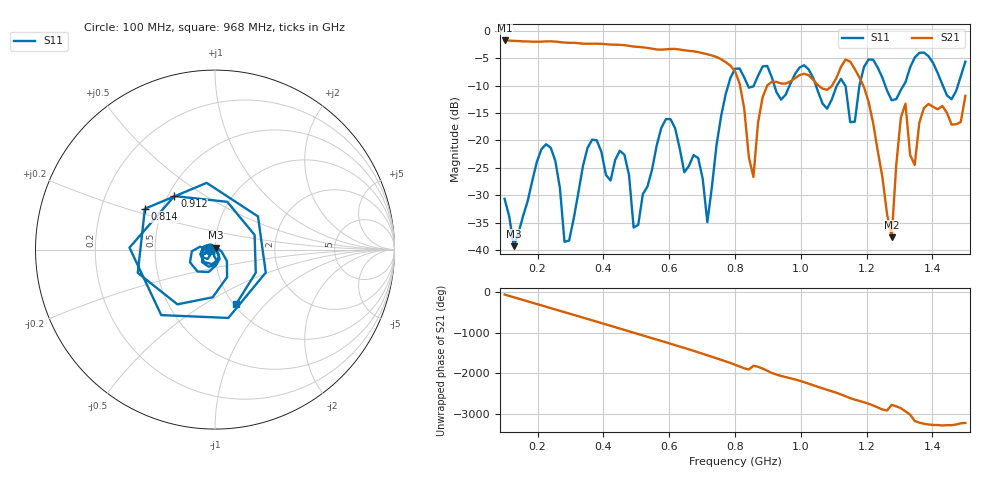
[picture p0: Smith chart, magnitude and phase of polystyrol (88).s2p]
! NanoVNA-App
! Date: 2025-09-26 09:42:34
! Start: 100MHz Stop: 1,5GHz Points: 101
! S-Parameter data: F S11 S21 S12 S22
# Hz S RI R 50
!  Frequency  S11_Real  S11_Imag  S21_Real  S21_Imag  S12_Real  S12_Imag  S22_Real  S22_Imag
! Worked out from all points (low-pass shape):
!   101 points, 100 MHz to 1.5 GHz, reference 50 ohm
!   highest |S21| = -1.79 dB at 100 MHz (marker M1); lowest = -37.6 dB at 1.276 GHz (marker M2)
!   |S21| within 3 dB of the highest: start of sweep to 743.3 MHz
!   lowest |S11| = -39.3 dB at 128 MHz (marker M3), VSWR 1.02, Z = 50.3 + j1.05 ohm
!   |S11| at or under -10 dB: start of sweep to 779.3 MHz; 1.046 GHz to 1.11 GHz (64.19 MHz wide, 5.96 % of centre); 1.135 GHz to 1.178 GHz (43.21 MHz wide, 3.74 % of centre) (the widest 3 of 7)
!   S12 and S22 are empty: the file has one direction only
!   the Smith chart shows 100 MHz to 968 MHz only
!   S11 on the Smith chart (normalised r, x): 100 MHz: 0.94, -0.01; 814 MHz: 0.40, +0.23; 912 MHz: 0.54, +0.37; 968 MHz: 1.02, -0.70
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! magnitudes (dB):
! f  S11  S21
! 100 MHz  -30.7  -1.8
! 128 MHz  -39.3  -1.9
! 212 MHz  -21.6  -2.0
! 282 MHz  -38.5  -2.2
! 338 MHz  -24.7  -2.4
! 464 MHz  -22.6  -2.6
! 492 MHz  -35.9  -2.9
! 576 MHz  -17.7  -3.5
! 688 MHz  -23.2  -3.9
! 716 MHz  -34.9  -4.3
! 800 MHz  -6.9  -7.4
! 814 MHz  -6.9  -9.6
! 856 MHz  -10.2  -26.7
! 912 MHz  -8.5  -9.3
! 968 MHz  -9.7  -9.3
! 1.038 GHz  -8.7  -9.0
! 1.178 GHz  -10.0  -8.5
! 1.276 GHz  -12.7  -37.6
! 1.318 GHz  -9.4  -13.3
! 1.346 GHz  -4.9  -24.5
! 1.374 GHz  -4.0  -14.1
! 1.5 GHz  -5.6  -11.9
